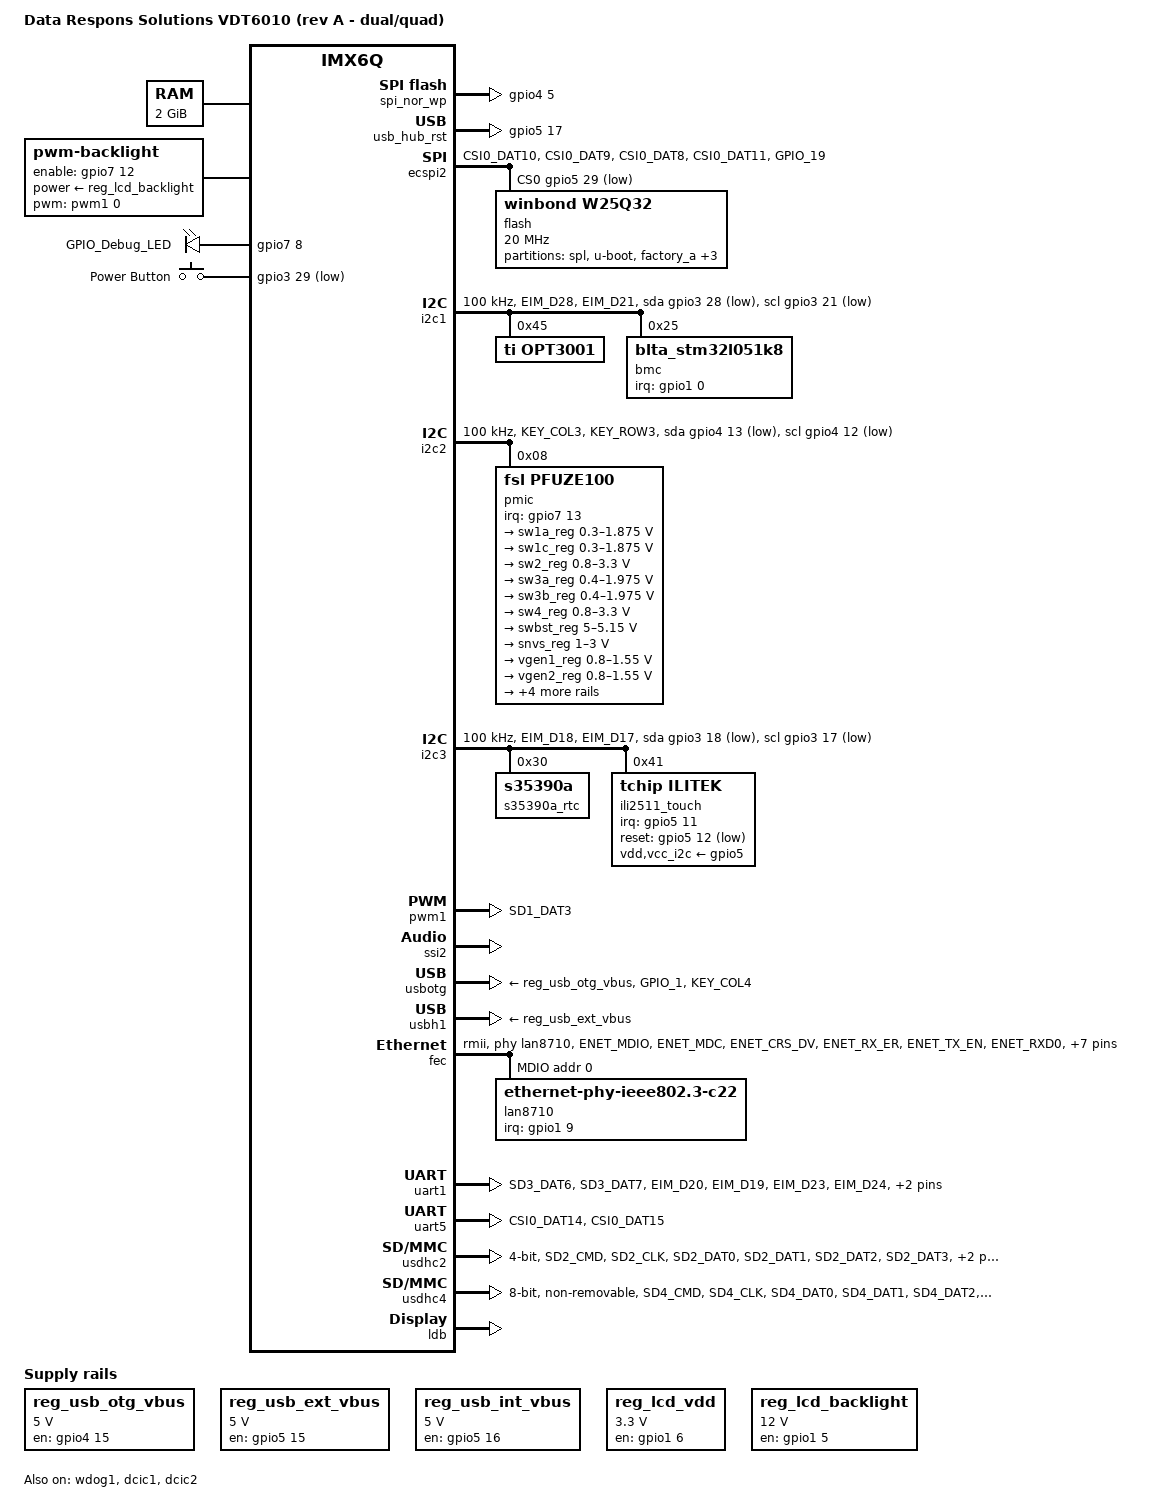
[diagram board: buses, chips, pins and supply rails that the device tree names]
/*
 * Copyright 2012 Freescale Semiconductor, Inc.
 * Copyright 2011 Linaro Ltd.
 *
 * The code contained herein is licensed under the GNU General Public
 * License. You may obtain a copy of the GNU General Public License
 * Version 2 or later at the following locations:
 *
 * http://www.opensource.org/licenses/gpl-license.html
 * http://www.gnu.org/copyleft/gpl.html
 */

/dts-v1/;

#include <dt-bindings/gpio/gpio.h>
#include <dt-bindings/input/input.h>
#include "imx6q.dtsi"

// MMC_RST# -> emmc
// MCU_NRST
// HDMI_SCL - HDMI_SDA - HDMI_DDC_CEC - HDMI_HPD

/ {
    model = "Data Respons Solutions VDT6010 (rev A - dual/quad)";
    compatible = "fsl,imx6q";
	
	chosen {
		stdout-path = &uart5;
	};
	
	aliases {
		mxcfb0 = &mxcfb1;
		mxcfb1 = &mxcfb2;
		rtc0 = &s35390a_rtc;
		rtc1 = &snvs_rtc;
	};
	
	memory: memory {
		reg = <0x10000000 0x40000000>;
	};
	
	regulators {
		compatible = "simple-bus";
		
		reg_usb_otg_vbus: usb_otg_vbus {
			compatible = "regulator-fixed";
			regulator-name = "usb_otg_vbus";
			regulator-min-microvolt = <5000000>;
			regulator-max-microvolt = <5000000>;
			gpio = <&gpio4 15 GPIO_ACTIVE_HIGH>;
			enable-active-high;
		};

		reg_usb_ext_vbus: usb_ext_vbus {
			compatible = "regulator-fixed";
			regulator-name = "usb_ext_vbus";
			regulator-min-microvolt = <5000000>;
			regulator-max-microvolt = <5000000>;
			gpio = <&gpio5 15 GPIO_ACTIVE_HIGH>;
			enable-active-high;
		};
		
		reg_usb_int_vbus: usb_int_vbus {
			compatible = "regulator-fixed";
			regulator-name = "usb_int_vbus";
			regulator-min-microvolt = <5000000>;
			regulator-max-microvolt = <5000000>;
			gpio = <&gpio5 16 GPIO_ACTIVE_HIGH>;
			enable-active-high;
			regulator-always-on;
		};
		
		reg_lcd_vdd: lcd_vdd {
			compatible = "regulator-fixed";
			regulator-name = "lcd_vdd";
			regulator-min-microvolt = <3300000>;
			regulator-max-microvolt = <3300000>;
			gpio = <&gpio1 6 GPIO_ACTIVE_HIGH>;
			enable-active-high;
			regulator-always-on;
		};
		
		reg_lcd_backlight: lcd_backlight {
			compatible = "regulator-fixed";
			regulator-name = "lcd_backlight";
			regulator-min-microvolt = <12000000>;
			regulator-max-microvolt = <12000000>;
			gpio = <&gpio1 5 GPIO_ACTIVE_HIGH>;
			enable-active-high;
		};
		
	};
	
	backlight {
		compatible = "pwm-backlight";
		pwms = <&pwm1 0 1000000>;
        brightness-levels = <	0 1 2 3 4 5 6 7 8 9 10 15 20 25 
        						30 40 50 60 70 80 90 100 120 150
        					>;
		default-brightness-level = <23>;
		enable-gpios = <&gpio7 12 GPIO_ACTIVE_HIGH>;
		power-supply = <&reg_lcd_backlight>;
		status = "okay";
	};

	leds {
		compatible = "gpio-leds";
		
		GPIO_Debug_LED {
			label = "GPIO_Debug_LED";
			gpios =<&gpio7 8 GPIO_ACTIVE_HIGH>;
		};
	};
	
	gpio-keys {
		compatible = "gpio-keys";
		pinctrl-names = "default";
		pinctrl-0 = <&pinctrl_gpio_keys>;

		power {
			label = "Power Button";
			gpios = <&gpio3 29 GPIO_ACTIVE_LOW>;
			gpio-key,wakeup;
			linux,code = <KEY_POWER>;
		};
	};
	
	user-gpios {		
        gpio1 {
			gpios = <&gpio4 30 GPIO_ACTIVE_HIGH>;
			status = "okay";
        };
        
        gpio2 {
			gpios = <&gpio4 31 GPIO_ACTIVE_HIGH>;
			status = "okay";
        };
        
        gpio3 {
			gpios = <&gpio5 5 GPIO_ACTIVE_HIGH>;
			status = "okay";
        };
        
        gpio4 {
			gpios = <&gpio5 6 GPIO_ACTIVE_HIGH>;
			status = "okay";
        };
        
        gpio5 {
			gpios = <&gpio5 7 GPIO_ACTIVE_HIGH>;
			status = "okay";
        };
        
        gpio6 {
			gpios = <&gpio5 8 GPIO_ACTIVE_HIGH>;
			status = "okay";
        };
        
        gpio7 {
			gpios = <&gpio5 9 GPIO_ACTIVE_HIGH>;
			status = "okay";
        };
        
        gpio8 {
			gpios = <&gpio5 10 GPIO_ACTIVE_HIGH>;
			status = "okay";
        };
        
        spi_nor_wp {
        	gpios = <&gpio4 5 GPIO_ACTIVE_LOW>;
        	status = "okay";
        	value = <1>;
        };
        
        usb_hub_rst {
        	gpios = <&gpio5 17 GPIO_ACTIVE_LOW>;
        	status = "okay";
        	value = <0>;
		};
		
		/*
		* F81439N - RS232/RS422/RS485 transceiver config
		* Default mode RS232 => RS485EN2 = <1>
		*/
		RS232EN2 {
        	gpios = <&gpio4 9 GPIO_ACTIVE_HIGH>;
        	status = "okay";
        	value = <0>;
		};
		
		RS422EN2 {
        	gpios = <&gpio4 10 GPIO_ACTIVE_HIGH>;
        	status = "okay";
        	value = <0>;
		};
		
		RS485EN2 {
        	gpios = <&gpio4 11 GPIO_ACTIVE_HIGH>;
        	status = "okay";
        	value = <1>;
		};        
	};	
		
	mxcfb1: fb@0 {
		compatible = "fsl,mxc_sdc_fb";
		disp_dev = "ldb";
		interface_pix_fmt = "RGB24";
		default_bpp = <32>;
		int_clk = <0>;
		late_init = <0>;
		status = "okay";
	};
	
	mxcfb2: fb@1 {
		compatible = "fsl,mxc_sdc_fb";
		disp_dev = "hdmi";
		interface_pix_fmt = "RGB24";
		mode_str ="1920x1080M@60";
		default_bpp = <24>;
		int_clk = <0>;
		late_init = <0>;
		status = "disabled";
	};
	
	v4l2_out {
		compatible = "fsl,mxc_v4l2_output";
		status = "okay";
	};

/*
	sound-hdmi {
		compatible = "fsl,imx6q-audio-hdmi",
			     "fsl,imx-audio-hdmi";
		model = "imx-audio-hdmi";
		hdmi-controller = <&hdmi_audio>;
	};
*/
};

&memory {
	reg = <0x10000000 0x80000000>;	
};

&ecspi2 {
	fsl,spi-num-chipselects = <1>;
	cs-gpios = <&gpio5 29 GPIO_ACTIVE_LOW>;
	pinctrl-names = "default";
	pinctrl-0 = <&pinctrl_ecspi2>;
	status = "okay";

	flash: w25q32@0 {
		#address-cells = <1>;
		#size-cells = <1>;
		compatible = "winbond,w25q32", "jedec,spi-nor";
		spi-max-frequency = <20000000>;
		reg = <0>;
		
		partitions {
			compatible = "fixed-partitions";
			#address-cells = <1>;
			#size-cells = <1>;
			
			spl@0x0 {
				label = "spl";
				reg = <0x0 0x30000>;
			};
			
			u-boot@0x30000 {
				label = "u-boot";
				reg = <0x30000 0xF0000>;
			};
		
			factory_a@0x120000 {
				label = "factory_a";
				reg = <0x120000 0x10000>;
			};
			
			factory_b@0x130000 {
				label = "factory_b";
				reg = <0x130000 0x10000>;
			};
				
			user_a@0x140000 {
				label = "user_a";
				reg = <0x140000 0x10000>;
			};
			
			user_b@0x150000 {
				label = "user_b";
				reg = <0x150000 0x10000>;
			};
		};
	};
};

&i2c1 {
	clock-frequency = <100000>;
	pinctrl-names = "default", "gpio";
	pinctrl-0 = <&pinctrl_i2c1>;
	pinctrl-1 = <&pinctrl_i2c1_gpio>;
	scl-gpios = <&gpio3 21 GPIO_ACTIVE_LOW>;
	sda-gpios = <&gpio3 28 GPIO_ACTIVE_LOW>;
	status = "okay";

	opt3001@45 {
		compatible = "ti,opt3001";
		reg = <0x45>;
	};
	
    bmc: stm32@25 {
        compatible = "blta_stm32l051k8";
        reg = <0x25>;
        interrupt-parent = <&gpio1>;
        interrupts = <0 IRQ_TYPE_EDGE_FALLING>;
    };
};
&i2c2 {
	clock-frequency = <100000>;
	pinctrl-names = "default", "gpio";
	pinctrl-0 = <&pinctrl_i2c2>;
	pinctrl-1 = <&pinctrl_i2c2_gpio>;
	scl-gpios = <&gpio4 12 GPIO_ACTIVE_LOW>;
	sda-gpios = <&gpio4 13 GPIO_ACTIVE_LOW>;
	status = "okay";
/*
	hdmi: edid@50 {
		compatible = "fsl,imx6-hdmi-i2c";
		reg = <0x50>;
	};
*/
	pmic: pfuze100@08 {
		compatible = "fsl,pfuze100";
		reg = <0x08>;

		regulators {
			sw1a_reg: sw1ab {
				regulator-min-microvolt = <300000>;
				regulator-max-microvolt = <1875000>;
				regulator-boot-on;
				regulator-always-on;
				regulator-ramp-delay = <6250>;
			};

			sw1c_reg: sw1c {
				regulator-min-microvolt = <300000>;
				regulator-max-microvolt = <1875000>;
				regulator-boot-on;
				regulator-always-on;
				regulator-ramp-delay = <6250>;
			};

			sw2_reg: sw2 {
				regulator-min-microvolt = <800000>;
				regulator-max-microvolt = <3300000>;
				regulator-boot-on;
				regulator-always-on;
				regulator-ramp-delay = <6250>;
			};

			sw3a_reg: sw3a {
				regulator-min-microvolt = <400000>;
				regulator-max-microvolt = <1975000>;
				regulator-boot-on;
				regulator-always-on;
			};

			sw3b_reg: sw3b {
				regulator-min-microvolt = <400000>;
				regulator-max-microvolt = <1975000>;
				regulator-boot-on;
				regulator-always-on;
			};

			sw4_reg: sw4 {
				regulator-min-microvolt = <800000>;
				regulator-max-microvolt = <3300000>;
			};

			swbst_reg: swbst {
				regulator-min-microvolt = <5000000>;
				regulator-max-microvolt = <5150000>;
			};

			snvs_reg: vsnvs {
				regulator-min-microvolt = <1000000>;
				regulator-max-microvolt = <3000000>;
				regulator-boot-on;
				regulator-always-on;
			};

			vref_reg: vrefddr {
				regulator-boot-on;
				regulator-always-on;
			};

			vgen1_reg: vgen1 {
				regulator-min-microvolt = <800000>;
				regulator-max-microvolt = <1550000>;
			};

			vgen2_reg: vgen2 {
				regulator-min-microvolt = <800000>;
				regulator-max-microvolt = <1550000>;
			};

			vgen3_reg: vgen3 {
				regulator-min-microvolt = <1800000>;
				regulator-max-microvolt = <3300000>;
			};

			vgen4_reg: vgen4 {
				regulator-min-microvolt = <1800000>;
				regulator-max-microvolt = <3300000>;
				regulator-always-on;
			};

			vgen5_reg: vgen5 {
				regulator-min-microvolt = <1800000>;
				regulator-max-microvolt = <3300000>;
				regulator-always-on;
			};

			vgen6_reg: vgen6 {
				regulator-min-microvolt = <1800000>;
				regulator-max-microvolt = <3300000>;
				regulator-always-on;
			};
		};
	};
};

&i2c3 {
	clock-frequency = <100000>;
	pinctrl-names = "default", "gpio";
	pinctrl-0 = <&pinctrl_i2c3>;
	pinctrl-1 = <&pinctrl_i2c3_gpio>;
	scl-gpios = <&gpio3 17 GPIO_ACTIVE_LOW>;
	sda-gpios = <&gpio3 18 GPIO_ACTIVE_LOW>;
	status = "okay";

	s35390a_rtc: rtc@30 {
        compatible = "s35390a";
        reg = <0x30>;
    };
/*
	ili2511_touch: touch@41 {
		compatible = "ilitek,ili251x";
		reg = <0x41>;
		interrupt-parent = <&gpio5>;
		interrupts = <11 IRQ_TYPE_EDGE_FALLING>;
		reset-gpios = <&gpio5 12 GPIO_ACTIVE_LOW>;
	};
*/
	ili2511_touch: touch@41 {
		compatible = "tchip,ilitek";
		reg = <0x41>;
		interrupt-parent = <&gpio5>;
		interrupts = <11 IRQ_TYPE_EDGE_FALLING>;
		vdd-supply = <&gpio5>;
		vcc_i2c-supply = <&gpio5>;
		ilitek,irq-gpio = <&gpio5 11 IRQ_TYPE_EDGE_FALLING>;
		ilitek,reset-gpio = <&gpio5 12 GPIO_ACTIVE_LOW>;
		ilitek,vbus = "vcc_i2c";
		ilitek,vdd = "vdd";
		ilitek,name = "ilitek_i2c";
	};

};

&pwm1 {
	pinctrl-names = "default";
	pinctrl-0 = <&pinctrl_pwm1>;
	status = "okay";
};

&ssi2 {
	fsl,mode = "i2s-slave";
	status = "okay";
};

&pmic {
	pinctrl-names = "default";
	pinctrl-0 = <&pinctrl_pmic>;
	interrupt-parent = <&gpio7>;
	interrupts = <13 8>;
};

&pcie {
	power-on-gpio; /* This defines it can sleep but who wakes up? */
	wake-up-gpio = <&gpio4 7 GPIO_ACTIVE_LOW>; /* Where is this used..? */
	reset-gpio = <&gpio4 8 GPIO_ACTIVE_LOW>;
	status = "disabled";
};

&usbotg {
	vbus-supply = <&reg_usb_otg_vbus>;
	pinctrl-names = "default";
	pinctrl-0 = <&pinctrl_usbotg>;
	disable-over-current;
	srp-disable;
	hnp-disable;
	adp-disable;
	status = "okay";
};

&usbh1 {
	vbus-supply = <&reg_usb_ext_vbus>;
	status = "okay";		
};

&fec {
	pinctrl-names = "default";
    pinctrl-0 = <&pinctrl_enet>;
    phy-mode = "rmii";
    fsl,magic-packet;
    phy-reset-gpios = <&gpio6 14 GPIO_ACTIVE_LOW>;
    phy-reset-duration = <1>;
    assigned-clocks = <&clks IMX6QDL_CLK_ENET_REF>;
	assigned-clock-rates = <50000000>;

    phy-handle = <&lan8710>;
	status = "okay";
	
	mdio {
		#address-cells = <1>;
		#size-cells = <0>;
		
		lan8710: ethernet-phy@0 {
			compatible = "ethernet-phy-ieee802.3-c22";
			reg = <0>;
/*
			reset-gpios = <&gpio6 14 GPIO_ACTIVE_LOW>;
			reset-assert-us = <1000>;
			reset-deassert-us = <2000>;
*/		
			smsc,disable-energy-detect;
			
			interrupt-parent = <&gpio1>;
			interrupts = <9 IRQ_TYPE_EDGE_FALLING>;
		};
	};
};

/* use for RS232,RS422,RS485 */
&uart1 {
	pinctrl-names = "default";
	fsl,dte-mode;
	pinctrl-0 = <&pinctrl_uart1>;
	fsl,uart-has-rtscts;
	dma-names = " ", "tx";
	status = "okay";
};

/* Serial debug port */
&uart5 {
	pinctrl-names = "default";
	pinctrl-0 = <&pinctrl_uart5>;
	status = "okay";
};

&usdhc2 {
	pinctrl-names = "default";
	pinctrl-0 = <&pinctrl_usdhc2>;
	bus-width = <4>;
	cd-gpios = <&gpio1 4 0>;
	wp-gpios = <&gpio1 2 0>;
	no-1-8-v;
	keep-power-in-suspend;
	enable-sdio-wakeup;
	status = "okay";
};

&usdhc4 {
	pinctrl-names = "default";
	pinctrl-0 = <&pinctrl_usdhc4>;
	bus-width = <8>;
	non-removable;
	no-1-8-v;
	keep-power-in-suspend;
	status = "okay";
};


&cpu0 {
	arm-supply = <&reg_arm>;
	soc-supply = <&reg_soc>;
};

&gpc {
	fsl,ldo-bypass = <0>;
	fsl,wdog-reset = <1>;
};

&wdog1 {
	status = "okay";
};

&wdog2 {
	status = "disabled";
};

&snvs_poweroff {
	status = "okay";
};

&can1 {
	status = "disabled";
};

&can2 {
	status = "disabled";
};

&iomuxc {
    pinctrl-names = "default";
    pinctrl-0 = <&pinctrl_hog_1>;

    hog {
        pinctrl_hog_1: hoggrp-1 {
			fsl,pins = <
				/* regulators */
				MX6QDL_PAD_KEY_ROW4__GPIO4_IO15		0x00002060 /* USB_OTG_PWR_EN */
				MX6QDL_PAD_DISP0_DAT21__GPIO5_IO15	0x00002060 /* USB_PWR_EN1 */
				MX6QDL_PAD_DISP0_DAT22__GPIO5_IO16	0x00002060 /* USB_PWR_EN2 */
				MX6QDL_PAD_GPIO_6__GPIO1_IO06		0x00002060 /* LCD_VDD_EN  */
				MX6QDL_PAD_GPIO_5__GPIO1_IO05		0x00002060 /* LED_VCC_EN  */
				
				/* display */
				MX6QDL_PAD_GPIO_17__GPIO7_IO12		0x00002060 /* LED_EN */
				
				/* touch */
				MX6QDL_PAD_DISP0_DAT17__GPIO5_IO11	0x000100b0 /* Touch_INT */
				MX6QDL_PAD_DISP0_DAT18__GPIO5_IO12	0x0001b0b0 /* Touch_Rest */

				/* leds */
				MX6QDL_PAD_SD3_RST__GPIO7_IO08		0x00002060 /* GPIO_Debug_LED */
				
				/* user-gpio */
				MX6QDL_PAD_DISP0_DAT9__GPIO4_IO30	0x00012000 /* gpio1 */
				MX6QDL_PAD_DISP0_DAT10__GPIO4_IO31  0x00012000 /* gpio2 */
				MX6QDL_PAD_DISP0_DAT11__GPIO5_IO05  0x00012000 /* gpio3 */
				MX6QDL_PAD_DISP0_DAT12__GPIO5_IO06  0x00012000 /* gpio4 */
				MX6QDL_PAD_DISP0_DAT13__GPIO5_IO07  0x00012000 /* gpio5 */
				MX6QDL_PAD_DISP0_DAT14__GPIO5_IO08  0x00012000 /* gpio6 */
				MX6QDL_PAD_DISP0_DAT15__GPIO5_IO09  0x00012000 /* gpio7 */
				MX6QDL_PAD_DISP0_DAT16__GPIO5_IO10  0x00012000 /* gpio8 */
				MX6QDL_PAD_KEY_ROW1__GPIO4_IO09		0x00002060 /* RS232EN2 */
				MX6QDL_PAD_KEY_COL2__GPIO4_IO10		0x00002060 /* RS422EN2 */
				MX6QDL_PAD_KEY_ROW2__GPIO4_IO11		0x00002060 /* RS485EN2 */
				
				/* pcie */
				MX6QDL_PAD_KEY_ROW0__GPIO4_IO07		0x000100b0 /* PCIE_WAKE_B */
				MX6QDL_PAD_KEY_COL1__GPIO4_IO08		0x0001b0b0 /* PCIE_RST_B */
				
				/* misc */
				MX6QDL_PAD_DISP0_DAT23__GPIO5_IO17	0x00002060 /* USB_HUB_RST */	
				MX6QDL_PAD_GPIO_3__GPIO1_IO03		0x40000000 /* RTC_IRQ - UNUSED */
				MX6QDL_PAD_GPIO_0__GPIO1_IO00		0x000100b0 /* GPIO_MCU   */
				MX6QDL_PAD_DISP0_DAT19__GPIO5_IO13	0x4001b0b0 /* CPU_GPIO_OUT    */			
			>;
 		};

		pinctrl_ecspi2: ecspi2grp {
			fsl,pins = <
				MX6QDL_PAD_CSI0_DAT10__ECSPI2_MISO	0x000100b1
				MX6QDL_PAD_CSI0_DAT9__ECSPI2_MOSI	0x000100b1
				MX6QDL_PAD_CSI0_DAT8__ECSPI2_SCLK	0x000100b1
				MX6QDL_PAD_CSI0_DAT11__GPIO5_IO29	0x0001b0b1 // flash cs
				MX6QDL_PAD_GPIO_19__GPIO4_IO05		0x0000a060 // flash wp
			>;
		};
		
		pinctrl_enet: enetgrp {
			fsl,pins = <
				MX6QDL_PAD_ENET_MDIO__ENET_MDIO		0x1b0b0
				MX6QDL_PAD_ENET_MDC__ENET_MDC		0x1b0b0
				MX6QDL_PAD_ENET_CRS_DV__ENET_RX_EN	0x1b0b0
				MX6QDL_PAD_ENET_RX_ER__ENET_RX_ER	0x1b0b0
				MX6QDL_PAD_ENET_TX_EN__ENET_TX_EN	0x1b0b0
				MX6QDL_PAD_ENET_RXD0__ENET_RX_DATA0	0x1b0b0
				MX6QDL_PAD_ENET_RXD1__ENET_RX_DATA1	0x1b0b0
				MX6QDL_PAD_ENET_TXD0__ENET_TX_DATA0	0x1b0b0
				MX6QDL_PAD_ENET_TXD1__ENET_TX_DATA1	0x1b0b0
				MX6QDL_PAD_GPIO_16__ENET_REF_CLK	0x4001b0a8
				MX6QDL_PAD_NANDF_CS1__GPIO6_IO14	0x1b0b0 /* RMII_nRST */
				MX6QDL_PAD_GPIO_9__GPIO1_IO09		0x1b0b0 /* ENET_IRQ# */
			>;
		};

		pinctrl_i2c1: i2c1grp {
			fsl,pins = <
				MX6QDL_PAD_EIM_D28__I2C1_SDA		0x4001b8b1
				MX6QDL_PAD_EIM_D21__I2C1_SCL		0x4001b8b1
			>;
		};
		
		pinctrl_i2c1_gpio: i2c1gpiogrp {
			fsl,pins = <
				MX6QDL_PAD_EIM_D28__GPIO3_IO28		0x4001b8b1
				MX6QDL_PAD_EIM_D21__GPIO3_IO21		0x4001b8b1
			>;
		};
		
		pinctrl_i2c2: i2c2grp {
			fsl,pins = <
				MX6QDL_PAD_KEY_COL3__I2C2_SCL		0x4001b8b1
				MX6QDL_PAD_KEY_ROW3__I2C2_SDA		0x4001b8b1
			 >;
		};
		
		pinctrl_i2c2_gpio: i2c2gpiogrp {
			fsl,pins = <
				MX6QDL_PAD_KEY_COL3__GPIO4_IO12		0x4001b8b1
				MX6QDL_PAD_KEY_ROW3__GPIO4_IO13		0x4001b8b1
			 >;
		};

		pinctrl_i2c3: i2c3grp {
			fsl,pins = <
				MX6QDL_PAD_EIM_D18__I2C3_SDA		0x4001b8b1
				MX6QDL_PAD_EIM_D17__I2C3_SCL		0x4001b8b1
			>;
		};
		
		pinctrl_i2c3_gpio: i2c3gpiogrp {
			fsl,pins = <
				MX6QDL_PAD_EIM_D18__GPIO3_IO18		0x4001b8b1
				MX6QDL_PAD_EIM_D17__GPIO3_IO17		0x4001b8b1
			>;
		};

		pinctrl_uart1: uart1grp {
			fsl,pins = <
				MX6QDL_PAD_SD3_DAT6__UART1_TX_DATA	0x1b0b1
				MX6QDL_PAD_SD3_DAT7__UART1_RX_DATA	0x1b0b1
				MX6QDL_PAD_EIM_D20__UART1_CTS_B		0x1b0b1
				MX6QDL_PAD_EIM_D19__UART1_RTS_B		0x1b0b1
				MX6QDL_PAD_EIM_D23__UART1_DCD_B 	0x1b0b1
				MX6QDL_PAD_EIM_D24__UART1_DTR_B		0x1b0b1
				MX6QDL_PAD_EIM_D25__UART1_DSR_B		0x1b0b1
				MX6QDL_PAD_EIM_EB3__UART1_RI_B		0x1b0b1
			>;
		};

		pinctrl_uart2: uart2grp1 {
			fsl,pins = <
				MX6QDL_PAD_SD3_DAT5__UART2_TX_DATA	0x1b0b1
				MX6QDL_PAD_SD3_DAT4__UART2_RX_DATA	0x1b0b1
				MX6QDL_PAD_SD3_CMD__UART2_CTS_B		0x1b0b1
			>;
		};


		pinctrl_uart5: uart5grp {
			fsl,pins = <
				MX6QDL_PAD_CSI0_DAT14__UART5_TX_DATA	0x1b0b1
				MX6QDL_PAD_CSI0_DAT15__UART5_RX_DATA	0x1b0b1
			>;
		};

		pinctrl_usdhc2: usdhc2grp {
			fsl,pins = <
				MX6QDL_PAD_SD2_CMD__SD2_CMD		0x17059
				MX6QDL_PAD_SD2_CLK__SD2_CLK		0x10059
				MX6QDL_PAD_SD2_DAT0__SD2_DATA0	0x17059
				MX6QDL_PAD_SD2_DAT1__SD2_DATA1	0x17059
				MX6QDL_PAD_SD2_DAT2__SD2_DATA2	0x17059
				MX6QDL_PAD_SD2_DAT3__SD2_DATA3	0x17059
			>;
		};
		
		pinctrl_usdhc4: usdhc4grp {
			fsl,pins = <
				MX6QDL_PAD_SD4_CMD__SD4_CMD		0x17059
				MX6QDL_PAD_SD4_CLK__SD4_CLK		0x10059
				MX6QDL_PAD_SD4_DAT0__SD4_DATA0	0x17059
				MX6QDL_PAD_SD4_DAT1__SD4_DATA1	0x17059
				MX6QDL_PAD_SD4_DAT2__SD4_DATA2	0x17059
				MX6QDL_PAD_SD4_DAT3__SD4_DATA3	0x17059
				MX6QDL_PAD_SD4_DAT4__SD4_DATA4	0x17059
				MX6QDL_PAD_SD4_DAT5__SD4_DATA5	0x17059
				MX6QDL_PAD_SD4_DAT6__SD4_DATA6	0x17059
				MX6QDL_PAD_SD4_DAT7__SD4_DATA7	0x17059
			>;
		};

		pinctrl_usbotg: usbotggrp {
			fsl,pins = <
				MX6QDL_PAD_GPIO_1__USB_OTG_ID	0x17059
				MX6QDL_PAD_KEY_COL4__USB_OTG_OC	0x1b0b0
			>;
		};

		pinctrl_pwm1: pwm1grp {
			fsl,pins = <
				MX6QDL_PAD_SD1_DAT3__PWM1_OUT	0x80000000 /* PWM1_Panel */
			>;
		};

		pinctrl_pmic: pmicgrp {
			fsl,pins = <
				MX6QDL_PAD_GPIO_18__GPIO7_IO13	0x40000000 /* PMIC_INT_B */
			>;
		};
		
        pinctrl_gpio_keys: gpio_keysgrp {
        fsl,pins = <
            MX6QDL_PAD_EIM_D29__GPIO3_IO29 0x80000000
        >;
   		};

	    pinctrl_hdmi_cec: hdmicecgrp {
	        fsl,pins = <
	            MX6QDL_PAD_EIM_A25__HDMI_TX_CEC_LINE 0x1f8b0
	        >;
	    };
	};
};

&ldb {
	status = "okay";
	
	lvds-channel@0 {
		crtc = "ipu1-di0";
		status = "disabled";
	};

	lvds-channel@1 {
		fsl,data-mapping = "spwg";
		fsl,data-width = <24>;
		primary;
		crtc = "ipu1-di0";
		status = "okay";
		
		display-timings {
			native-mode = <&timing0>;
			timing0: AM-1280800NTZQW-T10H {
					/*
					* Tv = hactive + hback-porch + hfront-porch + hsync-len
					* Th = vactive + vback-porch + vfront-porch + vsync-len
					*/
					clock-frequency = <71100000>;
					hactive = <1280>;
					vactive = <800>;
					hback-porch = <50>;
					hfront-porch = <50>;
					vback-porch = <10>;
					vfront-porch = <10>;
					hsync-len = <60>;
					vsync-len = <3>;
			};
		};
	};
};

/*
&hdmi_cec {
	pinctrl-names = "default";
	pinctrl-0 = <&pinctrl_hdmi_cec>;
	status = "okay";
};

&hdmi_core {
	ipu_id = <0>;
	disp_id = <0>;
	status = "okay";
};

&hdmi_video {
	fsl,phy_reg_vlev = <0x0294>;
	fsl,phy_reg_cksymtx = <0x800d>;
	status = "okay";
};

&hdmi_audio {
	status = "okay";
};
*/

&dcic1 {
	dcic_id = <0>;
	dcic_mux = "dcic-hdmi";
	status = "okay";
};

&dcic2 {
	dcic_id = <1>;
	dcic_mux = "dcic-lvds1";
	status = "okay";
};

&clks {
	fsl,ldb-di0-parent = <&clks IMX6QDL_CLK_PLL5_VIDEO_DIV>;
	fsl,ldb-di1-parent = <&clks IMX6QDL_CLK_PLL5_VIDEO_DIV>;
};
